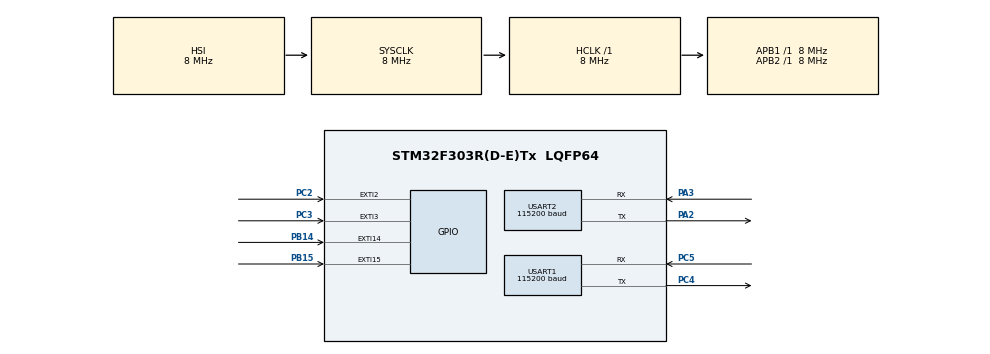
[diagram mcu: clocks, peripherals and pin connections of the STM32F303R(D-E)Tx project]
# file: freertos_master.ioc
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FREERTOS.BinarySemaphores01=BinSem,Dynamic,NULL
FREERTOS.Tasks01=read_pins,32,128,StartRead02,Default,NULL,Dynamic,NULL,NULL;watchdog,24,128,StartWatchdog01,Default,NULL,Dynamic,NULL,NULL;flash,16,128,StartFlash03,Default,NULL,Dynamic,NULL,NULL
Mcu.Family=STM32F3
Mcu.Name=STM32F303R(D-E)Tx
Mcu.Package=LQFP64
NVIC.EXTI15_10_IRQn=true\:5\:0\:false\:false\:true\:true\:true\:true\:true
NVIC.EXTI2_TSC_IRQn=true\:5\:0\:false\:false\:true\:true\:true\:true\:true
NVIC.EXTI3_IRQn=true\:5\:0\:false\:false\:true\:true\:true\:true\:true
NVIC.PriorityGroup=NVIC_PRIORITYGROUP_4
NVIC.TIM1_UP_TIM16_IRQn=true\:5\:0\:false\:false\:true\:true\:true\:true\:true
NVIC.TIM6_DAC_IRQn=true\:15\:0\:false\:false\:true\:false\:false\:true\:true
NVIC.TimeBase=TIM6_DAC_IRQn
NVIC.TimeBaseIP=TIM6
NVIC.USART1_IRQn=true\:5\:0\:false\:false\:true\:true\:true\:true\:true
NVIC.USART2_IRQn=true\:5\:0\:false\:false\:true\:true\:true\:true\:true
PA2.Mode=Asynchronous
PA2.Signal=USART2_TX
PA3.Mode=Asynchronous
PA3.Signal=USART2_RX
PB14.GPIO_ModeDefaultEXTI=GPIO_MODE_IT_FALLING
PB14.GPIO_PuPd=GPIO_PULLUP
PB14.Signal=GPXTI14
PB15.GPIO_ModeDefaultEXTI=GPIO_MODE_IT_FALLING
PB15.GPIO_PuPd=GPIO_PULLUP
PB15.Signal=GPXTI15
PC2.GPIO_ModeDefaultEXTI=GPIO_MODE_IT_FALLING
PC2.GPIO_PuPd=GPIO_PULLUP
PC2.Signal=GPXTI2
PC3.GPIO_ModeDefaultEXTI=GPIO_MODE_IT_FALLING
PC3.GPIO_PuPd=GPIO_PULLUP
PC3.Signal=GPXTI3
PC4.Mode=Asynchronous
PC4.Signal=USART1_TX
PC5.Mode=Asynchronous
PC5.Signal=USART1_RX
ProjectManager.HeapSize=0x200
ProjectManager.StackSize=0x400
ProjectManager.TargetToolchain=STM32CubeIDE
RCC.AHBFreq_Value=8000000
RCC.APB1Freq_Value=8000000
RCC.APB2Freq_Value=8000000
RCC.CortexFreq_Value=8000000
RCC.HSE_VALUE=8000000
RCC.HSI_VALUE=8000000
RCC.LSE_VALUE=32768
RCC.SYSCLKFreq_VALUE=8000000
RCC.USBFreq_Value=16000000
TIM16.Period=65216
TIM16.Prescaler=367
USART1.BaudRate=115200
USART1.VirtualMode-Asynchronous=VM_ASYNC
USART2.BaudRate=115200
USART2.VirtualMode-Asynchronous=VM_ASYNC
VP_FREERTOS_VS_CMSIS_V2.Mode=CMSIS_V2
VP_SYS_VS_tim6.Mode=TIM6
VP_TIM16_VS_ClockSourceINT.Mode=Enable_Timer
VP_WWDG_VS_WWDG.Mode=WWDG_Activate
WWDG.Counter=72
WWDG.Prescaler=WWDG_PRESCALER_4
WWDG.Window=70
board=custom

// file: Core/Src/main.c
/* USER CODE BEGIN Header */
/**
  ******************************************************************************
  * @file           : main.c
  * @brief          : Main program body
  ******************************************************************************
  * @attention
  *
  * Copyright (c) 2024 STMicroelectronics.
  * All rights reserved.
  *
  * This software is licensed under terms that can be found in the LICENSE file
  * in the root directory of this software component.
  * If no LICENSE file comes with this software, it is provided AS-IS.
  *
  ******************************************************************************
  */
/* USER CODE END Header */
#include "main.h"
#include "cmsis_os.h"

/* USER CODE BEGIN Includes */
#include "flash_driver.h"
#include "crc_driver.h"

#include <stdio.h>
#include <stdlib.h>
#include <string.h>
#include <stdbool.h>
/* USER CODE END Includes */

/* USER CODE BEGIN PD */

//button states
#define RELAY1_ON 1
#define RELAY1_OFF 2
#define RELAY2_ON 3
#define RELAY2_OFF 4
#define RELAY3_ON 5
#define RELAY3_OFF 6
#define RELAY4_ON 7
#define RELAY4_OFF 8

//flash addresses
#define RELAY1_ADDRESS 0x0803F800	//page 127
#define RELAY2_ADDRESS 0x0803F000	//page 126
#define RELAY3_ADDRESS 0x0803E800	//page 125
#define RELAY4_ADDRESS 0x0803E000	//page 124
#define TEST_ADDRESS 0x0803D800		//page 123

/* USER CODE END PD */

UART_HandleTypeDef huart1;
UART_HandleTypeDef huart2;

WWDG_HandleTypeDef hwwdg;

/* Definitions for read_pins */
osThreadId_t read_pinsHandle;
const osThreadAttr_t read_pins_attributes = {
  .name = "read_pins",
  .stack_size = 128 * 4,
  .priority = (osPriority_t) osPriorityAboveNormal,
};
/* Definitions for watchdog */
osThreadId_t watchdogHandle;
const osThreadAttr_t watchdog_attributes = {
  .name = "watchdog",
  .stack_size = 128 * 4,
  .priority = (osPriority_t) osPriorityNormal,
};
/* Definitions for flash */
osThreadId_t flashHandle;
const osThreadAttr_t flash_attributes = {
  .name = "flash",
  .stack_size = 128 * 4,
  .priority = (osPriority_t) osPriorityBelowNormal,
};
/* Definitions for BinSem */
osSemaphoreId_t BinSemHandle;
const osSemaphoreAttr_t BinSem_attributes = {
  .name = "BinSem"
};

void SystemClock_Config(void);
static void MX_GPIO_Init(void);
static void MX_USART1_UART_Init(void);
static void MX_USART2_UART_Init(void);
static void MX_WWDG_Init(void);
static void MX_TIM16_Init(void);
void StartRead02(void *argument);
void StartWatchdog01(void *argument);
void StartFlash03(void *argument);

/* USER CODE BEGIN 0 */

volatile uint64_t TxData[3];
uint32_t bit = 0;
uint64_t data = 0;
bool timer_flag = false;

//counts used for testing
uint32_t relay1_count = 0;
uint32_t relay2_count = 0;
uint32_t relay3_count = 0;
uint32_t relay4_count = 0;
uint32_t test = 0;

//UART messages to communicate updates
uint8_t relay1_msg[20] = "RELAY1 ON\n\r";
uint8_t relay2_msg[20] = "RELAY2 ON\n\r";
uint8_t relay3_msg[20] = "RELAY3 ON\n\r";
uint8_t relay4_msg[20] = "RELAY4 ON\n\r";
uint8_t wwdg_msg[20] = "Watchdog init\n\r";

/**
 * initializes values for division and carries out the encoding of each crc value
 */
void crc_encode(){
	int shift = 60;
	int position = 0;
	uint64_t appended_data = crc_append(data);
	uint64_t dividend = appended_data & 0xF000000000000000;
	dividend = dividend >> shift;
	uint64_t ans = crc_xor(dividend);

	uint64_t remain = crc_division(appended_data, position, shift, ans);
	TxData[0] = data;
	TxData[1] = appended_data + remain;
}

/**
 * sends data with crc to receiver every 10ms
 */
void send_data(){
	crc_encode();

	osDelay(10);
	if(timer_flag){
		HAL_WWDG_Refresh(&hwwdg);		//transmitting timeout
	}
	HAL_UART_Transmit(&huart1, (uint8_t*)TxData, sizeof(TxData), 1000);
}

/* USER CODE END 0 */

int main(void)
{

  /* MCU Configuration--------------------------------------------------------*/

  /* Reset of all peripherals, Initializes the Flash interface and the Systick. */
  HAL_Init();

  /* Configure the system clock */
  SystemClock_Config();

  /* Initialize all configured peripherals */
  MX_GPIO_Init();
  MX_USART1_UART_Init();
  MX_USART2_UART_Init();
  MX_TIM16_Init();
  /* USER CODE BEGIN 2 */
  LL_TIM_EnableCounter(TIM16);
  /* USER CODE END 2 */

  /* Init scheduler */
  osKernelInitialize();

  /* Create the semaphores(s) */
  /* creation of BinSem */
  BinSemHandle = osSemaphoreNew(1, 1, &BinSem_attributes);

  /* Create the thread(s) */
  /* creation of read_pins */
  read_pinsHandle = osThreadNew(StartRead02, NULL, &read_pins_attributes);

  /* creation of watchdog */
  watchdogHandle = osThreadNew(StartWatchdog01, NULL, &watchdog_attributes);

  /* creation of flash */
  flashHandle = osThreadNew(StartFlash03, NULL, &flash_attributes);

  /* Start scheduler */
  osKernelStart();

  /* We should never get here as control is now taken by the scheduler */
  /* Infinite loop */
  while (1)
  {

  }
}

void SystemClock_Config(void)
{
  RCC_OscInitTypeDef RCC_OscInitStruct = {0};
  RCC_ClkInitTypeDef RCC_ClkInitStruct = {0};
  RCC_PeriphCLKInitTypeDef PeriphClkInit = {0};

  /** Initializes the RCC Oscillators according to the specified parameters
  * in the RCC_OscInitTypeDef structure.
  */
  RCC_OscInitStruct.OscillatorType = RCC_OSCILLATORTYPE_HSI;
  RCC_OscInitStruct.HSIState = RCC_HSI_ON;
  RCC_OscInitStruct.HSICalibrationValue = RCC_HSICALIBRATION_DEFAULT;
  RCC_OscInitStruct.PLL.PLLState = RCC_PLL_NONE;
  if (HAL_RCC_OscConfig(&RCC_OscInitStruct) != HAL_OK)
  {
    Error_Handler();
  }

  /** Initializes the CPU, AHB and APB buses clocks
  */
  RCC_ClkInitStruct.ClockType = RCC_CLOCKTYPE_HCLK|RCC_CLOCKTYPE_SYSCLK
                              |RCC_CLOCKTYPE_PCLK1|RCC_CLOCKTYPE_PCLK2;
  RCC_ClkInitStruct.SYSCLKSource = RCC_SYSCLKSOURCE_HSI;
  RCC_ClkInitStruct.AHBCLKDivider = RCC_SYSCLK_DIV1;
  RCC_ClkInitStruct.APB1CLKDivider = RCC_HCLK_DIV1;
  RCC_ClkInitStruct.APB2CLKDivider = RCC_HCLK_DIV1;

  if (HAL_RCC_ClockConfig(&RCC_ClkInitStruct, FLASH_LATENCY_0) != HAL_OK)
  {
    Error_Handler();
  }
  PeriphClkInit.PeriphClockSelection = RCC_PERIPHCLK_USART1|RCC_PERIPHCLK_USART2
                              |RCC_PERIPHCLK_TIM16;
  PeriphClkInit.Usart1ClockSelection = RCC_USART1CLKSOURCE_PCLK2;
  PeriphClkInit.Usart2ClockSelection = RCC_USART2CLKSOURCE_PCLK1;
  PeriphClkInit.Tim16ClockSelection = RCC_TIM16CLK_HCLK;
  if (HAL_RCCEx_PeriphCLKConfig(&PeriphClkInit) != HAL_OK)
  {
    Error_Handler();
  }
}

static void MX_TIM16_Init(void)
{

  /* USER CODE BEGIN TIM16_Init 0 */
	//f = 8MHz / PSC					PSC = 367
	//T = (1 / f) * period = 3s			Period = 65216
  /* USER CODE END TIM16_Init 0 */

  LL_TIM_InitTypeDef TIM_InitStruct = {0};

  /* Peripheral clock enable */
  LL_APB2_GRP1_EnableClock(LL_APB2_GRP1_PERIPH_TIM16);

  /* TIM16 interrupt Init */
  NVIC_SetPriority(TIM1_UP_TIM16_IRQn, NVIC_EncodePriority(NVIC_GetPriorityGrouping(),5, 0));
  NVIC_EnableIRQ(TIM1_UP_TIM16_IRQn);

  TIM_InitStruct.Prescaler = 367;
  TIM_InitStruct.CounterMode = LL_TIM_COUNTERMODE_UP;
  TIM_InitStruct.Autoreload = 65216;
  TIM_InitStruct.ClockDivision = LL_TIM_CLOCKDIVISION_DIV1;
  TIM_InitStruct.RepetitionCounter = 0;
  LL_TIM_Init(TIM16, &TIM_InitStruct);
  LL_TIM_DisableARRPreload(TIM16);
  /* USER CODE BEGIN TIM16_Init 2 */

	LL_TIM_GenerateEvent_UPDATE(TIM16);

	LL_TIM_ClearFlag_UPDATE(TIM16);
  /* USER CODE END TIM16_Init 2 */

}

static void MX_USART1_UART_Init(void)
{

  huart1.Instance = USART1;
  huart1.Init.BaudRate = 115200;
  huart1.Init.WordLength = UART_WORDLENGTH_8B;
  huart1.Init.StopBits = UART_STOPBITS_1;
  huart1.Init.Parity = UART_PARITY_NONE;
  huart1.Init.Mode = UART_MODE_TX_RX;
  huart1.Init.HwFlowCtl = UART_HWCONTROL_NONE;
  huart1.Init.OverSampling = UART_OVERSAMPLING_16;
  huart1.Init.OneBitSampling = UART_ONE_BIT_SAMPLE_DISABLE;
  huart1.AdvancedInit.AdvFeatureInit = UART_ADVFEATURE_NO_INIT;
  if (HAL_UART_Init(&huart1) != HAL_OK)
  {
    Error_Handler();
  }

}

static void MX_USART2_UART_Init(void)
{

  huart2.Instance = USART2;
  huart2.Init.BaudRate = 115200;
  huart2.Init.WordLength = UART_WORDLENGTH_8B;
  huart2.Init.StopBits = UART_STOPBITS_1;
  huart2.Init.Parity = UART_PARITY_NONE;
  huart2.Init.Mode = UART_MODE_TX_RX;
  huart2.Init.HwFlowCtl = UART_HWCONTROL_NONE;
  huart2.Init.OverSampling = UART_OVERSAMPLING_16;
  huart2.Init.OneBitSampling = UART_ONE_BIT_SAMPLE_DISABLE;
  huart2.AdvancedInit.AdvFeatureInit = UART_ADVFEATURE_NO_INIT;
  if (HAL_UART_Init(&huart2) != HAL_OK)
  {
    Error_Handler();
  }

}

static void MX_WWDG_Init(void)
{

  /* USER CODE BEGIN WWDG_Init 0 */
	//counter = ((max_time * clk) / (4096 * prescalar)) + 64			= ((0.015 * 8M) / (4096 * 4)) + 64 = 72
	//window = counter - ((min_time * clk) / (4096 * prescalar))		= 72 - ((0.005 * 8M) / (4096 * 4)) = 70
  /* USER CODE END WWDG_Init 0 */

  /* USER CODE BEGIN WWDG_Init 1 */
	//5-15ms window
  /* USER CODE END WWDG_Init 1 */
  hwwdg.Instance = WWDG;
  hwwdg.Init.Prescaler = WWDG_PRESCALER_4;
  hwwdg.Init.Window = 70;
  hwwdg.Init.Counter = 72;
  hwwdg.Init.EWIMode = WWDG_EWI_DISABLE;
  if (HAL_WWDG_Init(&hwwdg) != HAL_OK)
  {
    Error_Handler();
  }

}

static void MX_GPIO_Init(void)
{
  GPIO_InitTypeDef GPIO_InitStruct = {0};

  /* GPIO Ports Clock Enable */
  __HAL_RCC_GPIOC_CLK_ENABLE();
  __HAL_RCC_GPIOA_CLK_ENABLE();
  __HAL_RCC_GPIOB_CLK_ENABLE();

  /*Configure GPIO pins : PC2 PC3 */
  GPIO_InitStruct.Pin = GPIO_PIN_2|GPIO_PIN_3;
  GPIO_InitStruct.Mode = GPIO_MODE_IT_FALLING;
  GPIO_InitStruct.Pull = GPIO_PULLUP;
  HAL_GPIO_Init(GPIOC, &GPIO_InitStruct);

  /*Configure GPIO pins : PB14 PB15 */
  GPIO_InitStruct.Pin = GPIO_PIN_14|GPIO_PIN_15;
  GPIO_InitStruct.Mode = GPIO_MODE_IT_FALLING;
  GPIO_InitStruct.Pull = GPIO_PULLUP;
  HAL_GPIO_Init(GPIOB, &GPIO_InitStruct);

  /* EXTI interrupt init*/
  HAL_NVIC_SetPriority(EXTI2_TSC_IRQn, 5, 0);
  HAL_NVIC_EnableIRQ(EXTI2_TSC_IRQn);

  HAL_NVIC_SetPriority(EXTI3_IRQn, 5, 0);
  HAL_NVIC_EnableIRQ(EXTI3_IRQn);

  HAL_NVIC_SetPriority(EXTI15_10_IRQn, 5, 0);
  HAL_NVIC_EnableIRQ(EXTI15_10_IRQn);

}

void StartRead02(void *argument)
{
  /* USER CODE BEGIN 5 */
  /* Infinite loop */
  for(;;)
  {
	  osSemaphoreAcquire(BinSemHandle, osWaitForever);		//wait for semaphore

		//button logic
		if (HAL_GPIO_ReadPin(GPIOC, GPIO_PIN_2) == 0)
		{
			data = RELAY1_ON;
			send_data();
			HAL_UART_Transmit(&huart2, relay1_msg, 20, 10);
			relay1_count++;
		}else if(HAL_GPIO_ReadPin(GPIOC, GPIO_PIN_2) == 1){
			data = RELAY1_OFF;
			send_data();
		}

		if (HAL_GPIO_ReadPin(GPIOC, GPIO_PIN_3) == 0)
		{
			data = RELAY2_ON;
			send_data();
			HAL_UART_Transmit(&huart2, relay2_msg, 20, 10);
			relay2_count++;
		}else if(HAL_GPIO_ReadPin(GPIOC, GPIO_PIN_3) == 1){
			data = RELAY2_OFF;
			send_data();
		}

		if (HAL_GPIO_ReadPin(GPIOB, GPIO_PIN_14) == 0)
		{
			data = RELAY3_ON;
			send_data();
			HAL_UART_Transmit(&huart2, relay3_msg, 20, 10);
			relay3_count++;
		}else if(HAL_GPIO_ReadPin(GPIOB, GPIO_PIN_14) == 1){
			data = RELAY3_OFF;
			send_data();
		}

		if (HAL_GPIO_ReadPin(GPIOB, GPIO_PIN_15) == 0)
		{
			data = RELAY4_ON;
			send_data();
			HAL_UART_Transmit(&huart2, relay4_msg, 20, 10);
			relay4_count++;
		}else if(HAL_GPIO_ReadPin(GPIOB, GPIO_PIN_15) == 1){
			data = RELAY4_OFF;
			send_data();
		}

		  osSemaphoreRelease(BinSemHandle);		//release semaphore
  }

  osThreadTerminate(NULL);
  /* USER CODE END 5 */
}

void StartWatchdog01(void *argument)
{
  /* USER CODE BEGIN StartWatchdog01 */
  /* Infinite loop */
  for(;;)
  {
		if(LL_TIM_IsActiveFlag_UPDATE(TIM16)){
			LL_TIM_ClearFlag_UPDATE(TIM16);
			LL_TIM_DisableCounter(TIM16);
			MX_WWDG_Init();
			timer_flag = true;
			HAL_UART_Transmit(&huart2, wwdg_msg, 20, 10);
		}
  }

  osThreadTerminate(NULL);
  /* USER CODE END StartWatchdog01 */
}

void StartFlash03(void *argument)
{
  /* USER CODE BEGIN StartFlash03 */
  /* Infinite loop */
  for(;;)
  {
	  osSemaphoreAcquire(BinSemHandle, osWaitForever);		//wait for semaphore
	  flash_write(RELAY1_ADDRESS, relay1_count, timer_flag, &hwwdg);
	  flash_write(RELAY2_ADDRESS, relay2_count, timer_flag, &hwwdg);
	  flash_write(RELAY3_ADDRESS, relay3_count, timer_flag, &hwwdg);
	  flash_write(RELAY4_ADDRESS, relay4_count, timer_flag, &hwwdg);

	  test = flash_read(RELAY1_ADDRESS);
	  osSemaphoreRelease(BinSemHandle);		//release semaphore
  }
  /* USER CODE END StartFlash03 */
}

void HAL_TIM_PeriodElapsedCallback(TIM_HandleTypeDef *htim)
{
  if (htim->Instance == TIM6) {
    HAL_IncTick();
  }
}

void Error_Handler(void)
{
  __disable_irq();
  while (1)
  {
  }
}
